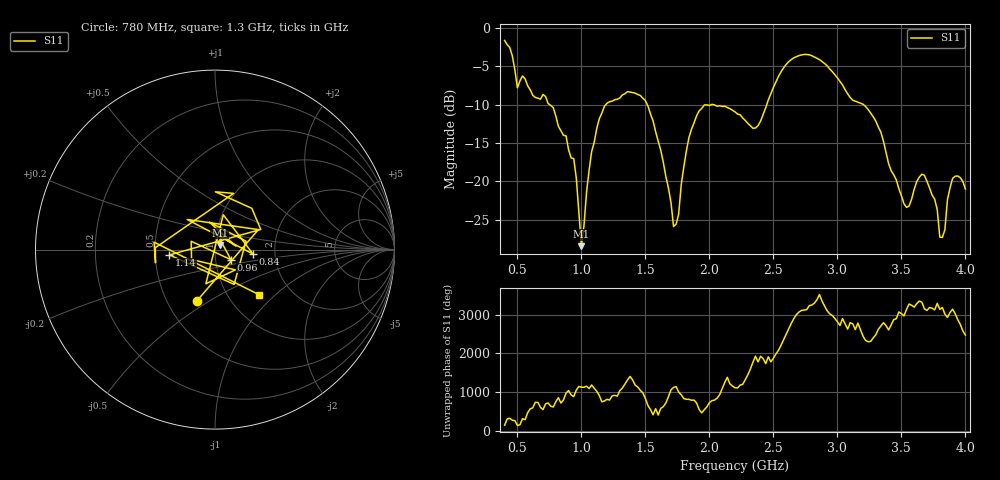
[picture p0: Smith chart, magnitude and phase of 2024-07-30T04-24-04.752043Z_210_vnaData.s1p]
!Created with skrf (http://scikit-rf.org).
# Hz S RI R 50.0
!freq ReS11 ImS11
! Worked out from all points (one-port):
!   181 points, 400 MHz to 4 GHz, reference 50 ohm
!   lowest |S11| = -28.5 dB at 1 GHz (marker M1), VSWR 1.08, Z = 52.7 + j2.79 ohm
!   |S11| at or under -10 dB: 750.8 MHz to 1.192 GHz (440.9 MHz wide, 45.4 % of centre); 1.514 GHz to 2.017 GHz (502.8 MHz wide, 28.5 % of centre); 3.203 GHz to end of sweep (the widest 3 of 4)
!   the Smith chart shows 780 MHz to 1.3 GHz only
!   S11 on the Smith chart (normalised r, x): 780 MHz: 0.70, -0.44; 840 MHz: 1.54, -0.08; 960 MHz: 1.19, -0.13; 1.14 GHz: 0.59, -0.04; 1.3 GHz: 1.38, -0.79
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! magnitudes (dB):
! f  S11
! 400 MHz  -1.7
! 500 MHz  -7.8
! 540 MHz  -6.3
! 780 MHz  -10.4
! 840 MHz  -13.4
! 860 MHz  -14.0
! 960 MHz  -19.6
! 1 GHz  -28.5
! 1.08 GHz  -16.1
! 1.14 GHz  -11.8
! 1.3 GHz  -9.1
! 1.5 GHz  -9.5
! 1.62 GHz  -16.0
! 1.72 GHz  -25.9
! 1.76 GHz  -24.2
! 1.84 GHz  -14.3
! 1.92 GHz  -10.8
! 2.2 GHz  -11.0
! 2.36 GHz  -13.1
! 2.66 GHz  -3.9
! 2.86 GHz  -4.1
! 3.1 GHz  -9.1
! 3.3 GHz  -12.2
! 3.56 GHz  -23.2
! 3.68 GHz  -19.2
! 3.82 GHz  -27.3
! 3.9 GHz  -19.6
! 4 GHz  -21.0
